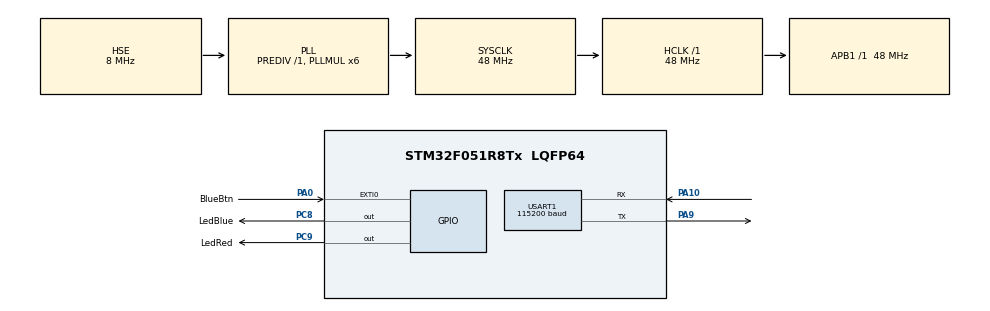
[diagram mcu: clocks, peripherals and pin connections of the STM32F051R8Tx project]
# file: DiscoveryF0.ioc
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Mcu.Family=STM32F0
Mcu.Name=STM32F051R8Tx
Mcu.Package=LQFP64
NVIC.EXTI0_1_IRQn=true\:0\:0\:false\:false\:true\:true\:true\:true
NVIC.USART1_IRQn=true\:0\:0\:false\:false\:true\:true\:true\:true
PA0.GPIO_Label=BlueBtn
PA0.GPIO_ModeDefaultEXTI=GPIO_MODE_IT_FALLING
PA0.Signal=GPXTI0
PA10.Mode=Asynchronous
PA10.Signal=USART1_RX
PA13.GPIO_Label=SWDIO
PA13.Mode=Serial_Wire
PA13.Signal=SYS_SWDIO
PA14.GPIO_Label=SWCLK
PA14.Mode=Serial_Wire
PA14.Signal=SYS_SWCLK
PA9.Mode=Asynchronous
PA9.Signal=USART1_TX
PC8.GPIO_Label=LedBlue
PC8.Signal=GPIO_Output
PC9.GPIO_Label=LedRed
PC9.Signal=GPIO_Output
PF0-OSC_IN.Mode=HSE-External-Clock-Source
PF0-OSC_IN.Signal=RCC_OSC_IN
ProjectManager.HeapSize=0x200
ProjectManager.StackSize=0x400
ProjectManager.TargetToolchain=STM32CubeIDE
RCC.AHBFreq_Value=48000000
RCC.APB1Freq_Value=48000000
RCC.APB1TimFreq_Value=48000000
RCC.HCLKFreq_Value=48000000
RCC.PLLMUL=RCC_PLL_MUL6
RCC.PLLSourceVirtual=RCC_PLLSOURCE_HSE
RCC.SYSCLKFreq_VALUE=48000000
RCC.SYSCLKSource=RCC_SYSCLKSOURCE_PLLCLK
USART1.BaudRate=115200
USART1.VirtualMode-Asynchronous=VM_ASYNC
board=STM32F0DISCOVERY

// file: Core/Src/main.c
/* USER CODE BEGIN Header */
/**
  ******************************************************************************
  * @file           : main.c
  * @brief          : Main program body
  ******************************************************************************
  * @attention
  *
  * Copyright (c) 2025 STMicroelectronics.
  * All rights reserved.
  *
  * This software is licensed under terms that can be found in the LICENSE file
  * in the root directory of this software component.
  * If no LICENSE file comes with this software, it is provided AS-IS.
  *
  ******************************************************************************
  */
/* USER CODE END Header */
#include "main.h"

/* USER CODE BEGIN Includes */
#include <string.h>
/* USER CODE END Includes */

/* USER CODE BEGIN PD */
#define BUFFER_SIZE (20)
#undef DBG_FLAG
/* USER CODE END PD */

UART_HandleTypeDef huart1;

/* USER CODE BEGIN PV */
volatile uint16_t keyPressed = 0;
volatile uint32_t myTick = 0;
uint8_t rxBuffer[BUFFER_SIZE] = {0,};
uint16_t length = 0;
/* USER CODE END PV */

void SystemClock_Config(void);
static void MX_GPIO_Init(void);
static void MX_USART1_UART_Init(void);

int main(void)
{

  /* MCU Configuration--------------------------------------------------------*/

  /* Reset of all peripherals, Initializes the Flash interface and the Systick. */
  HAL_Init();

  /* Configure the system clock */
  SystemClock_Config();

  /* Initialize all configured peripherals */
  MX_GPIO_Init();
  MX_USART1_UART_Init();
  /* USER CODE BEGIN 2 */
  HAL_UARTEx_ReceiveToIdle_IT(&huart1, (uint8_t *)rxBuffer, BUFFER_SIZE);
  char *onMessage = "B\n";      // сообщение для ВКЛ  светодиода
  char *offMessage = "b\n";     // сообщение для ВЫКЛ светодиода
  uint16_t prevButtonState = 0; // статус кнопки до антидребезговой паузы
  uint8_t ledState = 0;         // статус светодиода
  uint32_t debounce = 50;       // антидребезговая пауза в мс
  /* USER CODE END 2 */

  /* Infinite loop */
  /* USER CODE BEGIN WHILE */
  while (1)
  {
	    if ((HAL_GetTick() - myTick > debounce))
	    {
	      //		была нажата кнопка и дребезг прошёл
	      if (keyPressed && prevButtonState == HAL_GPIO_ReadPin(BlueBtn_GPIO_Port, BlueBtn_Pin))
	      {
	        //			отправляем на Ардуино хранимый статус светодиода
	        if (ledState)
	        {
	          HAL_UART_Transmit(&huart1, (uint8_t *)onMessage, strlen(onMessage), 10);
	          //	-------- убрать после отладки ---------
#ifdef DBG_FLAG
	           HAL_GPIO_WritePin(GPIOC, LedBlue_Pin, GPIO_PIN_SET);
#endif
	        }
	        else
	        {
	          HAL_UART_Transmit(&huart1, (uint8_t *)offMessage, strlen(offMessage), 10);
	          //	-------- убрать после отладки ---------
#ifdef DBG_FLAG
	           HAL_GPIO_WritePin(GPIOC, LedBlue_Pin, GPIO_PIN_RESET);
#endif
	        }
	        //			переключаем хранимый статус светодиода
	        ledState = !ledState;
	        keyPressed = 0;
	      }
	      myTick = HAL_GetTick();
	      prevButtonState = HAL_GPIO_ReadPin(BlueBtn_GPIO_Port, BlueBtn_Pin);
	    }
#ifndef DBG_FLAG
	    if (length > 0)
	    {
	      //		  Обработка сообщения от Ардуино
	      if (strncmp("A\n", (char *)rxBuffer, 2) == 0)
	      {
	        HAL_GPIO_WritePin(GPIOC, LedBlue_Pin, 1);
	      }
	      else if (strncmp("a\n", (char *)rxBuffer, 2) == 0)
	      {
	        HAL_GPIO_WritePin(GPIOC, LedBlue_Pin, 0);
	      }
	      //		  Перезапускаем приём
	      length = 0;
	      HAL_UARTEx_ReceiveToIdle_IT(&huart1, rxBuffer, BUFFER_SIZE);
	    }
#endif
    /* USER CODE END WHILE */

  }
}

void SystemClock_Config(void)
{
  RCC_OscInitTypeDef RCC_OscInitStruct = {0};
  RCC_ClkInitTypeDef RCC_ClkInitStruct = {0};
  RCC_PeriphCLKInitTypeDef PeriphClkInit = {0};

  /** Initializes the RCC Oscillators according to the specified parameters
  * in the RCC_OscInitTypeDef structure.
  */
  RCC_OscInitStruct.OscillatorType = RCC_OSCILLATORTYPE_HSE;
  RCC_OscInitStruct.HSEState = RCC_HSE_BYPASS;
  RCC_OscInitStruct.PLL.PLLState = RCC_PLL_ON;
  RCC_OscInitStruct.PLL.PLLSource = RCC_PLLSOURCE_HSE;
  RCC_OscInitStruct.PLL.PLLMUL = RCC_PLL_MUL6;
  RCC_OscInitStruct.PLL.PREDIV = RCC_PREDIV_DIV1;
  if (HAL_RCC_OscConfig(&RCC_OscInitStruct) != HAL_OK)
  {
    Error_Handler();
  }

  /** Initializes the CPU, AHB and APB buses clocks
  */
  RCC_ClkInitStruct.ClockType = RCC_CLOCKTYPE_HCLK|RCC_CLOCKTYPE_SYSCLK
                              |RCC_CLOCKTYPE_PCLK1;
  RCC_ClkInitStruct.SYSCLKSource = RCC_SYSCLKSOURCE_PLLCLK;
  RCC_ClkInitStruct.AHBCLKDivider = RCC_SYSCLK_DIV1;
  RCC_ClkInitStruct.APB1CLKDivider = RCC_HCLK_DIV1;

  if (HAL_RCC_ClockConfig(&RCC_ClkInitStruct, FLASH_LATENCY_1) != HAL_OK)
  {
    Error_Handler();
  }
  PeriphClkInit.PeriphClockSelection = RCC_PERIPHCLK_USART1;
  PeriphClkInit.Usart1ClockSelection = RCC_USART1CLKSOURCE_PCLK1;
  if (HAL_RCCEx_PeriphCLKConfig(&PeriphClkInit) != HAL_OK)
  {
    Error_Handler();
  }
}

static void MX_USART1_UART_Init(void)
{

  huart1.Instance = USART1;
  huart1.Init.BaudRate = 115200;
  huart1.Init.WordLength = UART_WORDLENGTH_8B;
  huart1.Init.StopBits = UART_STOPBITS_1;
  huart1.Init.Parity = UART_PARITY_NONE;
  huart1.Init.Mode = UART_MODE_TX_RX;
  huart1.Init.HwFlowCtl = UART_HWCONTROL_NONE;
  huart1.Init.OverSampling = UART_OVERSAMPLING_16;
  huart1.Init.OneBitSampling = UART_ONE_BIT_SAMPLE_DISABLE;
  huart1.AdvancedInit.AdvFeatureInit = UART_ADVFEATURE_NO_INIT;
  if (HAL_UART_Init(&huart1) != HAL_OK)
  {
    Error_Handler();
  }

}

static void MX_GPIO_Init(void)
{
  GPIO_InitTypeDef GPIO_InitStruct = {0};

  /* GPIO Ports Clock Enable */
  __HAL_RCC_GPIOF_CLK_ENABLE();
  __HAL_RCC_GPIOA_CLK_ENABLE();
  __HAL_RCC_GPIOC_CLK_ENABLE();

  /*Configure GPIO pin Output Level */
  HAL_GPIO_WritePin(GPIOC, LedBlue_Pin|LedRed_Pin, GPIO_PIN_RESET);

  /*Configure GPIO pin : BlueBtn_Pin */
  GPIO_InitStruct.Pin = BlueBtn_Pin;
  GPIO_InitStruct.Mode = GPIO_MODE_IT_FALLING;
  GPIO_InitStruct.Pull = GPIO_NOPULL;
  HAL_GPIO_Init(BlueBtn_GPIO_Port, &GPIO_InitStruct);

  /*Configure GPIO pins : LedBlue_Pin LedRed_Pin */
  GPIO_InitStruct.Pin = LedBlue_Pin|LedBlue_Pin;
  GPIO_InitStruct.Mode = GPIO_MODE_OUTPUT_PP;
  GPIO_InitStruct.Pull = GPIO_NOPULL;
  GPIO_InitStruct.Speed = GPIO_SPEED_FREQ_LOW;
  HAL_GPIO_Init(GPIOC, &GPIO_InitStruct);

  /* EXTI interrupt init*/
  HAL_NVIC_SetPriority(EXTI0_1_IRQn, 0, 0);
  HAL_NVIC_EnableIRQ(EXTI0_1_IRQn);

}

/* USER CODE BEGIN 4 */
void HAL_UARTEx_RxEventCallback(UART_HandleTypeDef *huart, uint16_t Size)
{
  if (huart == &huart1)
  {
    length = Size;
    //  ------- Отправка эхо. Убрать после отладки ----------
#ifdef DBG_FLAG
    HAL_UART_Transmit(&huart1, (uint8_t *)rxBuffer, length, 10);
    HAL_UARTEx_ReceiveToIdle_IT(&huart1, rxBuffer, BUFFER_SIZE);
#endif
  }
}

void HAL_GPIO_EXTI_Callback(uint16_t GPIO_Pin)
{
  if (GPIO_Pin == BlueBtn_Pin)
  {
    keyPressed = 1;
  }
}
/* USER CODE END 4 */

void Error_Handler(void)
{
  __disable_irq();
  while (1)
  {
  }
}
